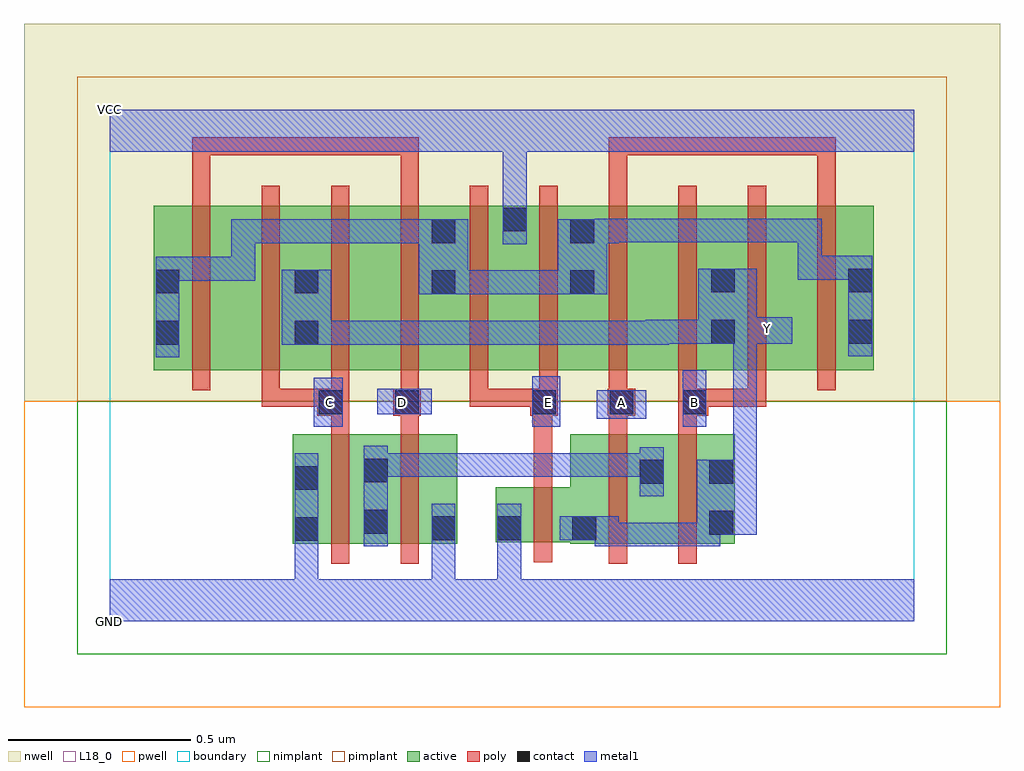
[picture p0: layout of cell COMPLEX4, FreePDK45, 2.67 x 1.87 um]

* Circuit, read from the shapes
.subckt COMPLEX4 A B C D E GND VCC Y
M1 n1 C GND VSUBS nfet w=0.3u l=0.05u
M2 GND D n1 VSUBS nfet w=0.3u l=0.05u
M3 Y E GND VSUBS nfet w=0.15u l=0.05u
M4 n1 A Y VSUBS nfet w=0.3u l=0.05u
M5 Y B n1 VSUBS nfet w=0.3u l=0.05u
M6 n2 D n3 n4 pfet w=0.45u l=0.05u
M7 Y C n2 n4 pfet w=0.45u l=0.05u
M8 n5 C Y n4 pfet w=0.45u l=0.05u
M9 n3 D n5 n4 pfet w=0.45u l=0.05u
M10 VCC E n3 n4 pfet w=0.45u l=0.05u m=2
M11 n6 A n3 n4 pfet w=0.45u l=0.05u
M12 Y B n6 n4 pfet w=0.45u l=0.05u
M13 n7 B Y n4 pfet w=0.45u l=0.05u
M14 n3 A n7 n4 pfet w=0.45u l=0.05u
.ends

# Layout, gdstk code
import gdstk
lib = gdstk.Library(unit=1e-6, precision=1e-09)
def R(c, l, rs):  # rectangles x0, y0, x1, y1
    for r in rs: c.add(gdstk.rectangle(r[:2], r[2:], *l))
def A(c, l, x, y, w, h, nx, ny, dx, dy):  # array of equal rectangles
    R(c, l, [(x+i*dx, y+j*dy, x+i*dx+w, y+j*dy+h) for i in range(nx) for j in range(ny)])
active = (1, 0)
pwell = (2, 0)
nwell = (3, 0)
nimplant = (4, 0)
pimplant = (5, 0)
poly = (9, 0)
contact = (10, 0)
metal1 = (11, 0)
L18_0 = (18, 0)
boundary = (235, 0)

complex4 = lib.new_cell('COMPLEX4')
R(complex4, active, [(0.5,0.212,0.575,0.512), (0.5,0.212,0.765,0.512), (0.69,0.212,0.95,0.512), (0.69,0.212,0.765,0.45), (0.875,0.212,0.95,0.512), (1.26,0.212,1.52,0.512), (1.26,0.212,1.335,0.292), (1.445,0.212,1.71,0.512), (1.635,0.212,1.71,0.512), (1.055,0.217,1.335,0.367), (1.055,0.217,1.13,0.367), (1.445,0.247,1.52,0.447), (0.12,0.687,0.195,1.107), (0.12,0.687,0.345,1.137), (0.345,0.687,0.575,1.137), (0.5,0.687,0.725,1.137), (0.725,0.687,0.95,1.137), (0.875,0.687,1.145,1.137), (1.07,0.687,1.33,1.137), (1.255,0.687,1.485,1.137), (1.485,0.687,1.715,1.137), (1.64,0.687,1.865,1.137), (1.865,0.687,2.09,1.137), (2.015,0.687,2.09,1.107), (0.875,0.702,0.95,1.107), (0.5,0.732,0.575,1.07), (1.64,0.732,1.715,1.07), (1.255,0.822,1.33,1.107), (1.07,0.857,1.145,1.137)])
R(complex4, pwell, [(-0.235,-0.235,2.435,0.602)])
R(complex4, nwell, [(-0.235,0.602,2.435,1.635)])
R(complex4, nimplant, [(-0.09,-0.09,2.29,0.602)])
R(complex4, pimplant, [(-0.09,0.602,2.29,1.49)])
A(complex4, poly, 0.415, 0.587, 0.05, 0.095, 8, 1, 0.19, 0)
A(complex4, poly, 0.225, 0.632, 0.05, 0.56, 10, 1, 0.19, 0)
A(complex4, poly, 0.225, 1.142, 0.05, 0.183, 4, 1, 0.57, 0)
R(complex4, poly, [(0.605,0.157,0.655,0.567), (0.795,0.157,0.845,0.567), (1.365,0.157,1.415,0.567), (1.555,0.157,1.605,0.567), (1.16,0.162,1.21,0.422), (1.16,0.372,1.21,0.612), (0.605,0.517,0.655,0.612), (0.795,0.517,0.845,0.612), (1.365,0.517,1.415,0.612), (1.555,0.517,1.605,0.612), (0.567,0.562,0.655,0.637), (0.775,0.562,0.85,0.637), (1.15,0.562,1.225,0.637), (1.362,0.562,1.437,0.637), (1.555,0.562,1.637,0.637), (0.415,0.587,0.465,0.637), (0.415,0.587,0.465,0.637), (0.415,0.587,0.465,0.637), (0.415,0.587,0.617,0.637), (0.985,0.587,1.035,0.637), (0.985,0.587,1.2,0.637), (1.15,0.587,1.2,0.637), (1.15,0.587,1.2,0.637), (1.587,0.587,1.637,0.637), (1.587,0.587,1.637,0.637), (1.587,0.587,1.795,0.637), (1.745,0.587,1.795,0.637), (0.225,1.275,0.275,1.325), (0.225,1.275,0.275,1.325), (0.225,1.275,0.275,1.325), (0.225,1.275,0.445,1.325), (0.395,1.275,0.445,1.325), (0.395,1.275,0.445,1.325), (0.395,1.275,0.445,1.325), (0.395,1.275,0.692,1.325), (0.642,1.275,0.692,1.325), (0.642,1.275,0.692,1.325), (0.642,1.275,0.692,1.325), (0.642,1.275,0.845,1.325), (0.795,1.275,0.845,1.325), (1.365,1.275,1.415,1.325), (1.365,1.275,1.415,1.325), (1.365,1.275,1.415,1.325), (1.365,1.275,1.585,1.325), (1.535,1.275,1.585,1.325), (1.535,1.275,1.585,1.325), (1.535,1.275,1.585,1.325), (1.535,1.275,1.77,1.325), (1.72,1.275,1.985,1.325), (1.72,1.275,1.77,1.325), (1.72,1.275,1.77,1.325), (1.72,1.275,1.77,1.325), (1.935,1.275,1.985,1.325)])
R(complex4, contact, [(0.505,0.22,0.57,0.285), (0.88,0.222,0.945,0.287), (1.06,0.222,1.125,0.287), (1.265,0.222,1.33,0.287), (1.64,0.237,1.705,0.302), (0.695,0.24,0.76,0.305), (0.505,0.36,0.57,0.425), (1.45,0.377,1.515,0.442), (1.64,0.377,1.705,0.442), (0.695,0.38,0.76,0.445), (0.572,0.567,0.637,0.632), (0.78,0.567,0.845,0.632), (1.155,0.567,1.22,0.632), (1.367,0.567,1.432,0.632), (1.567,0.567,1.632,0.632), (0.125,0.757,0.19,0.822), (0.505,0.757,0.57,0.822), (1.645,0.76,1.71,0.825), (2.02,0.76,2.085,0.825), (0.88,0.895,0.945,0.96), (1.26,0.895,1.325,0.96), (0.125,0.897,0.19,0.962), (0.505,0.897,0.57,0.962), (1.645,0.9,1.71,0.965), (2.02,0.9,2.085,0.965), (0.88,1.035,0.945,1.1), (1.26,1.035,1.325,1.1), (1.075,1.067,1.14,1.132)])
R(complex4, metal1, [(0,0,2.2,0.115), (0.505,0.05,0.57,0.115), (0.505,0.05,0.57,0.115), (0.505,0.05,0.57,0.25), (0.88,0.05,0.945,0.115), (0.88,0.05,0.945,0.115), (0.88,0.05,0.945,0.252), (1.06,0.05,1.125,0.115), (1.06,0.05,1.125,0.115), (1.06,0.05,1.125,0.115), (1.06,0.05,1.125,0.115), (1.06,0.05,1.125,0.252), (0.505,0.185,0.57,0.46), (0.88,0.187,0.945,0.322), (1.06,0.187,1.125,0.322), (0.695,0.205,0.76,0.48), (1.327,0.205,1.532,0.27), (1.327,0.205,1.392,0.287), (1.467,0.205,1.532,0.27), (1.467,0.205,1.67,0.27), (1.605,0.205,1.67,0.27), (1.605,0.205,1.67,0.27), (1.605,0.205,1.67,0.27), (1.605,0.205,1.67,0.302), (1.23,0.222,1.365,0.287), (1.3,0.222,1.392,0.287), (1.605,0.237,1.77,0.442), (1.45,0.342,1.515,0.477), (1.705,0.377,1.77,0.825), (0.695,0.395,0.897,0.46), (0.832,0.395,0.897,0.46), (0.832,0.395,0.897,0.46), (0.832,0.395,0.897,0.46), (0.832,0.395,1.082,0.46), (1.017,0.395,1.082,0.46), (1.017,0.395,1.117,0.46), (1.052,0.395,1.117,0.46), (1.052,0.395,1.255,0.46), (1.19,0.395,1.255,0.46), (1.19,0.395,1.255,0.46), (1.19,0.395,1.255,0.46), (1.19,0.395,1.392,0.46), (1.327,0.395,1.392,0.46), (1.327,0.395,1.515,0.46), (0.557,0.532,0.637,0.667), (1.155,0.532,1.232,0.67), (1.567,0.532,1.632,0.687), (1.332,0.555,1.467,0.632), (0.732,0.567,0.88,0.637), (0.125,0.722,0.19,0.997), (2.02,0.725,2.085,1), (0.47,0.757,0.605,0.962), (0.54,0.757,0.605,0.822), (0.54,0.757,0.605,0.822), (0.54,0.757,0.742,0.822), (0.677,0.757,0.742,0.822), (0.677,0.757,0.742,0.822), (0.677,0.757,0.742,0.822), (0.677,0.757,0.897,0.822), (0.832,0.757,0.897,0.822), (0.832,0.757,1.082,0.822), (1.017,0.757,1.082,0.822), (1.017,0.757,1.117,0.822), (1.052,0.757,1.117,0.822), (1.052,0.757,1.255,0.822), (1.19,0.757,1.255,0.822), (1.19,0.757,1.255,0.822), (1.19,0.757,1.255,0.822), (1.19,0.757,1.395,0.822), (1.33,0.757,1.395,0.822), (1.33,0.757,1.53,0.822), (1.465,0.757,1.53,0.825), (1.465,0.76,1.675,0.825), (1.61,0.76,1.675,0.825), (1.61,0.76,1.675,0.825), (1.61,0.76,1.77,0.965), (1.705,0.76,1.867,0.832), (1.705,0.767,1.77,0.832), (0.845,0.895,0.98,1.1), (0.915,0.895,1.047,0.96), (0.982,0.895,1.047,0.96), (0.982,0.895,1.117,0.96), (1.052,0.895,1.117,0.96), (1.052,0.895,1.255,0.96), (1.19,0.895,1.255,0.96), (1.19,0.895,1.29,0.96), (1.225,0.895,1.36,1.1), (0.125,0.932,0.19,0.997), (0.125,0.932,0.19,0.997), (0.125,0.932,0.397,0.997), (0.332,0.932,0.397,0.997), (0.332,0.932,0.397,1.1), (1.882,0.935,1.947,1), (1.882,0.935,2.085,1), (1.882,0.935,1.947,1.102), (2.02,0.935,2.085,1), (2.02,0.935,2.085,1), (1.075,1.032,1.14,1.167), (0.332,1.035,0.397,1.1), (0.332,1.035,0.397,1.1), (0.332,1.035,0.397,1.1), (0.332,1.035,0.535,1.1), (0.47,1.035,0.535,1.1), (0.47,1.035,0.535,1.1), (0.47,1.035,0.535,1.1), (0.47,1.035,0.76,1.1), (0.695,1.035,0.76,1.1), (0.695,1.035,0.91,1.1), (0.845,1.035,0.91,1.1), (0.845,1.035,0.91,1.1), (1.295,1.035,1.392,1.1), (1.327,1.035,1.392,1.102), (1.327,1.037,1.532,1.102), (1.467,1.037,1.532,1.102), (1.467,1.037,1.532,1.102), (1.467,1.037,1.532,1.102), (1.467,1.037,1.67,1.102), (1.605,1.037,1.67,1.102), (1.605,1.037,1.947,1.102), (1.882,1.037,1.947,1.102), (1.882,1.037,1.947,1.102), (1.882,1.037,1.947,1.102), (1.075,1.102,1.14,1.167), (1.075,1.102,1.14,1.167), (1.075,1.102,1.14,1.35), (0,1.285,2.2,1.4)])
A(complex4, L18_0, 1.167, 0.567, 0.065, 0.065, 3, 1, 0.2, 0)
R(complex4, L18_0, [(0,0,2.2,0.115), (0.505,0.05,0.57,0.115), (0.505,0.05,0.57,0.115), (0.505,0.05,0.57,0.25), (0.88,0.05,0.945,0.115), (0.88,0.05,0.945,0.115), (0.88,0.05,0.945,0.252), (1.06,0.05,1.125,0.115), (1.06,0.05,1.125,0.115), (1.06,0.05,1.125,0.115), (1.06,0.05,1.125,0.115), (1.06,0.05,1.125,0.252), (0.505,0.185,0.57,0.46), (0.88,0.187,0.945,0.322), (1.06,0.187,1.125,0.322), (1.327,0.205,1.392,0.287), (1.327,0.205,1.532,0.27), (1.467,0.205,1.532,0.27), (1.467,0.205,1.67,0.27), (1.605,0.205,1.67,0.27), (1.605,0.205,1.67,0.27), (1.605,0.205,1.67,0.27), (1.605,0.205,1.67,0.302), (1.23,0.222,1.365,0.287), (1.3,0.222,1.392,0.287), (1.605,0.237,1.77,0.442), (1.705,0.377,1.77,0.825), (0.557,0.532,0.637,0.667), (1.155,0.532,1.232,0.67), (1.567,0.532,1.632,0.687), (1.332,0.555,1.467,0.632), (0.567,0.567,0.632,0.632), (0.732,0.567,0.88,0.637), (0.767,0.567,0.832,0.632), (0.47,0.757,0.605,0.962), (0.54,0.757,0.605,0.822), (0.54,0.757,0.605,0.822), (0.54,0.757,0.742,0.822), (0.677,0.757,0.742,0.822), (0.677,0.757,0.742,0.822), (0.677,0.757,0.742,0.822), (0.677,0.757,0.897,0.822), (0.832,0.757,0.897,0.822), (0.832,0.757,1.082,0.822), (1.017,0.757,1.082,0.822), (1.017,0.757,1.117,0.822), (1.052,0.757,1.117,0.822), (1.052,0.757,1.255,0.822), (1.19,0.757,1.255,0.822), (1.19,0.757,1.255,0.822), (1.19,0.757,1.255,0.822), (1.19,0.757,1.395,0.822), (1.33,0.757,1.395,0.822), (1.33,0.757,1.53,0.822), (1.465,0.757,1.53,0.825), (1.465,0.76,1.675,0.825), (1.61,0.76,1.675,0.825), (1.61,0.76,1.675,0.825), (1.61,0.76,1.77,0.965), (1.705,0.76,1.867,0.832), (1.705,0.767,1.77,0.832), (1.767,0.767,1.832,0.832), (1.075,1.032,1.14,1.167), (1.075,1.102,1.14,1.167), (1.075,1.102,1.14,1.167), (1.075,1.102,1.14,1.35), (0,1.285,2.2,1.4)])
R(complex4, boundary, [(0,0,2.2,1.4)])
complex4.add(gdstk.Label('A', (1.4,0.6), layer=11, texttype=0))
complex4.add(gdstk.Label('B', (1.6,0.6), layer=11, texttype=0))
complex4.add(gdstk.Label('C', (0.6,0.6), layer=11, texttype=0))
complex4.add(gdstk.Label('D', (0.8,0.6), layer=11, texttype=0))
complex4.add(gdstk.Label('E', (1.2,0.6), layer=11, texttype=0))
complex4.add(gdstk.Label('Y', (1.8,0.8), layer=11, texttype=0))
complex4.add(gdstk.Label('VCC', (0,1.4), layer=11, texttype=0))
complex4.add(gdstk.Label('GND', (0,0), layer=11, texttype=0))

lib.write_gds('COMPLEX4.gds')
